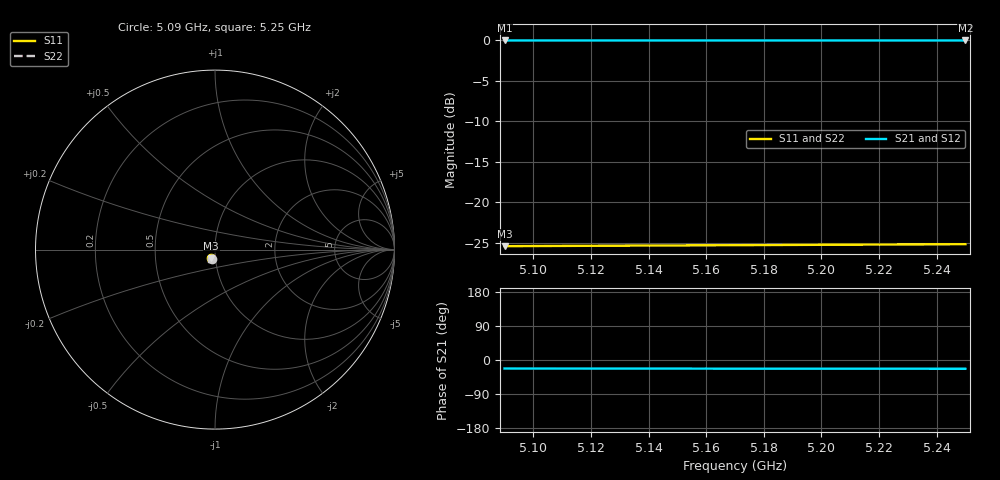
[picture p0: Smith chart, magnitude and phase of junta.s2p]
! Touchstone file exported from HFSS 2024.2.0
!  File:  D:/dev/EMBRAER/P1H/Comparacao_PCB/Junta/Junta_UT141_P1H.aedt
!  Generated:  02:32:18 PM Nov  6, 2026
!  Design:  Junta_coaxial
!  Project:  Junta_UT141_P1H
!  Setup:  Junta
!  Solution:  Banda
# GHz S RI R 50.000000
! Terminal data exported
! Port[1] = CABO
! Port[2] = P1H
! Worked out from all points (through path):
!   17 points, 5.09 GHz to 5.25 GHz, reference 50 ohm
!   highest |S21| = -0.02 dB at 5.09 GHz (marker M1); lowest = 0.0 dB at 5.25 GHz (marker M2)
!   group delay of S21, straight-line fit = 12.2 ps
!   lowest |S11| = -25.4 dB at 5.09 GHz (marker M3), VSWR 1.11, Z = 47.7 - j4.68 ohm
!   |S11| at or under -10 dB: start of sweep to end of sweep
!   |S22| runs from -25.4 to -25.2 dB; largest |S21 - S12| = 1e-15
5.09  -0.0216 -0.049  0.9224 -0.3815  0.9224 -0.3815  -0.0187 -0.0501
! Gamma 0 0 0 0
! Port Impedance 50 0 50 0
5.1  -0.0217 -0.049  0.9221 -0.3822  0.9221 -0.3822  -0.0187 -0.0502
5.11  -0.0218 -0.0491  0.9218 -0.3829  0.9218 -0.3829  -0.0188 -0.0503
5.12  -0.0219 -0.0492  0.9215 -0.3836  0.9215 -0.3836  -0.0189 -0.0503
5.13  -0.022 -0.0492  0.9212 -0.3843  0.9212 -0.3843  -0.0189 -0.0504
5.14  -0.022 -0.0493  0.9209 -0.385  0.9209 -0.385  -0.019 -0.0505
5.15  -0.0221 -0.0494  0.9206 -0.3857  0.9206 -0.3857  -0.0191 -0.0506
5.16  -0.0222 -0.0494  0.9203 -0.3864  0.9203 -0.3864  -0.0192 -0.0506
5.17  -0.0223 -0.0495  0.92 -0.3871  0.92 -0.3871  -0.0192 -0.0507
5.18  -0.0224 -0.0496  0.9197 -0.3878  0.9197 -0.3878  -0.0193 -0.0508
5.19  -0.0224 -0.0497  0.9194 -0.3885  0.9194 -0.3885  -0.0194 -0.0509
5.2  -0.0225 -0.0497  0.9191 -0.3893  0.9191 -0.3893  -0.0194 -0.0509
5.21  -0.0226 -0.0498  0.9188 -0.39  0.9188 -0.39  -0.0195 -0.051
5.22  -0.0227 -0.0499  0.9185 -0.3907  0.9185 -0.3907  -0.0196 -0.0511
5.23  -0.0228 -0.0499  0.9182 -0.3914  0.9182 -0.3914  -0.0196 -0.0512
5.24  -0.0228 -0.05  0.9179 -0.3921  0.9179 -0.3921  -0.0197 -0.0512
5.25  -0.0229 -0.0501  0.9175 -0.3928  0.9175 -0.3928  -0.0198 -0.0513
